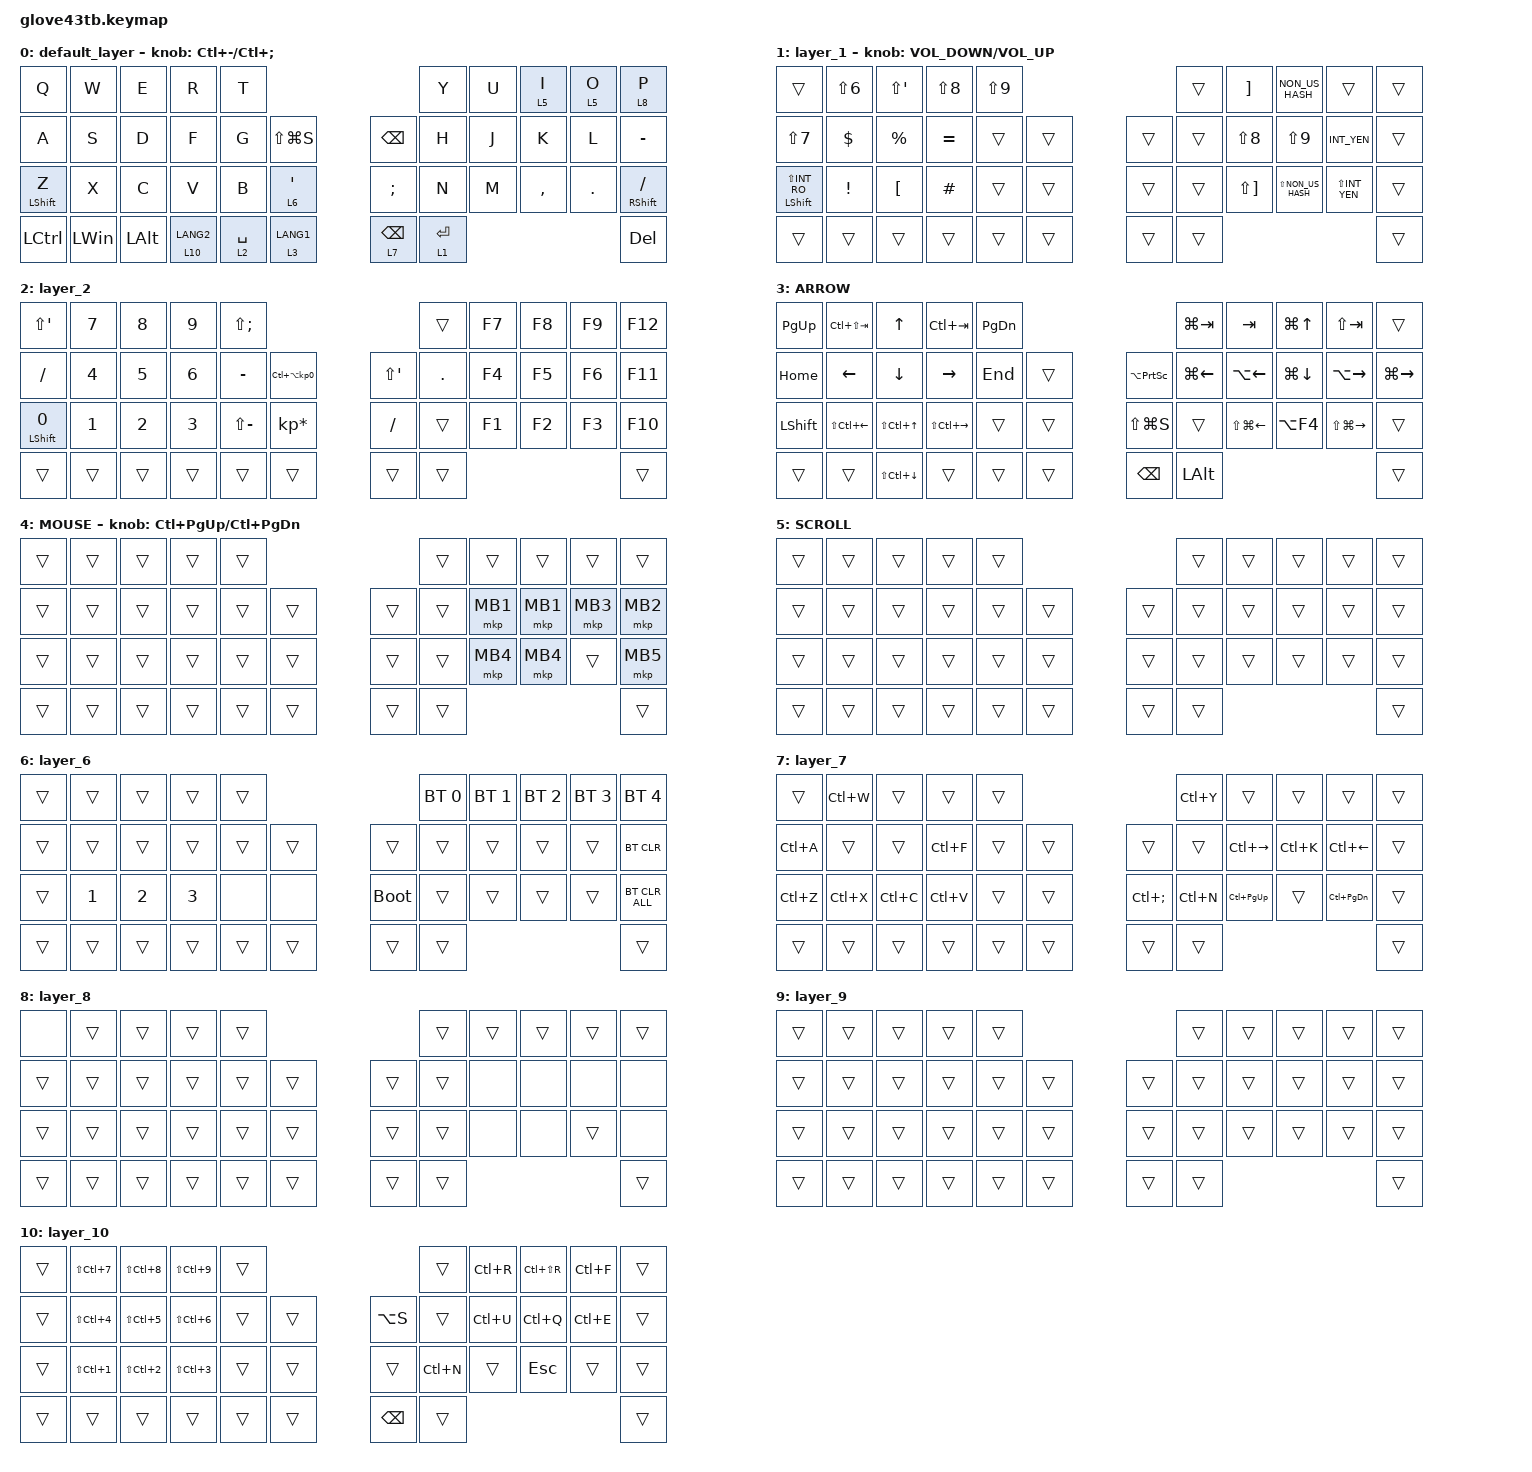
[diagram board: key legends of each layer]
#define ZMK_POINTING_DEFAULT_SCRL_VAL 150

#include <dt-bindings/zmk/input_transform.h>
#include <input/processors.dtsi>
#include <zephyr/dt-bindings/input/input-event-codes.h>
#include <behaviors.dtsi>
#include <dt-bindings/zmk/bt.h>
#include <dt-bindings/zmk/keys.h>
#include <dt-bindings/zmk/pointing.h>

&mt {
    flavor = "balanced";
    quick-tap-ms = <0>;
};

&mmv {
    delay-ms = <20>;
    trigger-period-ms = <5>;
    time-to-max-speed-ms = <100>;
    acceleration-exponent = <2>;
};

&msc {
    delay-ms = <3>;
    trigger-period-ms = <3>;
    time-to-max-speed-ms = <100>;
    acceleration-exponent = <0>;
};

/ {
    input_processors {
        zip_wheel_scaler: zip_wheel_scaler {
            compatible = "zmk,input-processor-scaler";
            #input-processor-cells = <2>;
            type = <INPUT_EV_REL>;
            codes = <INPUT_REL_WHEEL>;
            track-remainders;
        };

        // --- 最終修正：Scalerではなく専用プロセッサを使用 ---

        zip_no_mouse: zip_no_mouse {
            compatible = "zmk,input-processor-scaler"; // ★ココを変更！
            #input-processor-cells = <2>;
            type = <INPUT_EV_REL>;
            codes = <INPUT_REL_X>, <INPUT_REL_Y>;

            // 移動量を0にする役割に徹する
        };
    };
};

/ {
    combos {
        compatible = "zmk,combos";

        tab {
            bindings = <&kp TAB>;
            key-positions = <11 12>;
        };

        shift_tab {
            bindings = <&kp LS(TAB)>;
            key-positions = <12 13>;
        };

        muhennkann {
            bindings = <&to_layer_0 INT_MUHENKAN>;
            key-positions = <22 23>;
        };

        double_quotation {
            bindings = <&kp DOUBLE_QUOTES>;
            key-positions = <20 21>;
        };

        eq {
            bindings = <&kp EQUAL>;
            key-positions = <24 25>;
        };

        COMBO_ESC {
            bindings = <&kp ESC>;
            key-positions = <0 1>;
            timeout-ms = <50>;
            layers = <0>;
        };
    };

    macros {
        to_layer_0: to_layer_0 {
            compatible = "zmk,behavior-macro-one-param";
            #binding-cells = <1>;
            bindings = <&to 0 &macro_param_1to1 &kp MACRO_PLACEHOLDER>;
            label = "TO_LAYER_0";
        };
    };

    behaviors {
        lt_to_layer_0: lt_to_layer_0 {
            compatible = "zmk,behavior-hold-tap";
            label = "LAYER_TAP_TO_0";
            bindings = <&mo>, <&to_layer_0>;

            #binding-cells = <2>;
            tapping-term-ms = <200>;
        };

        sensor_rotate_kp: sensor_rotate_kp {
            compatible = "zmk,behavior-sensor-rotate-var";
            #sensor-binding-cells = <2>;
            bindings = <&kp>, <&kp>;
        };

        mouse_wheel_scroll: mouse_wheel_scroll {
            compatible = "zmk,behavior-sensor-rotate-var";
            #sensor-binding-cells = <2>;
            bindings = <&msc>, <&msc>;

            tap-ms = <20>;
        };

        // --- 追加：トラックボール・ジェスチャーの定義 ---
        // --- ① behaviorsセクション：感度を爆上げ ---
        // ... (lt_to_layer_0, sensor_rotate_kp, mouse_wheel_scroll は変更なし) ...
        // --- 修正：トラックボール・ジェスチャーの定義 ---

        tb_web: tb_web {
            compatible = "zmk,behavior-input-two-axis-as-key";
            #binding-cells = <0>;
            threshold = <500>; // ★500に戻して誤爆を防止！
            bindings =
                <&kp LC(LS(TAB))>,
                // 左: 前タブ,,,,,,,,,,,,,,,,
                <&kp LC(TAB)>,
                // 右: 次タブ,,,,,,,,,,,,,,,,
                <&kp LC(W)>,
                // 下: 閉じる,,,,,,,,,,,,,,,,
                <&kp LC(T)>;

            // 上: 新規タブ
            // 修正案：直感に合わせて順序を入れ替えました
            // 左(前), 右(次), 下(閉), 上(新)
        };

        tb_undo: tb_undo {
            compatible = "zmk,behavior-input-two-axis-as-key";
            #binding-cells = <0>;
            threshold = <500>; // ★ここも500へ
            // 右上に弾いた時だけ「閉じたタブを戻す」
            // 順序：上, 下, 左, 右

            bindings = <&kp LC(LS(T))>, <&none>, <&none>, <&none>;
        };
    };

    keymap {
        compatible = "zmk,keymap";

        default_layer {
            bindings = <
&kp Q             &kp W         &kp E         &kp R         &kp T                                                     &kp Y        &kp U  &lt 5 I    &lt 5 O  &lt 8 P
&kp A             &kp S         &kp D         &kp F         &kp G        &kp LS(LG(S))               &kp BACKSPACE    &kp H        &kp J  &kp K      &kp L    &kp MINUS
&mt LEFT_SHIFT Z  &kp X         &kp C         &kp V         &kp B        &lt 6 SINGLE_QUOTE          &kp SEMICOLON    &kp N        &kp M  &kp COMMA  &kp DOT  &mt RIGHT_SHIFT SLASH
&kp LCTRL         &kp LEFT_WIN  &kp LEFT_ALT  &lt 10 LANG2  &lt 2 SPACE  &lt_to_layer_0 3 LANG1      &lt 7 BACKSPACE  &lt 1 ENTER                             &kp DELETE
            >;

            sensor-bindings = <&inc_dec_kp LC(MINUS) LC(SEMICOLON)>;
        };

        layer_1 {
            bindings = <
&trans                     &kp LS(NUMBER_6)  &kp LS(SINGLE_QUOTE)  &kp LS(NUMBER_8)  &kp LS(NUMBER_9)                      &trans  &kp RIGHT_BRACKET      &kp NON_US_HASH      &trans           &trans
&kp LS(NUMBER_7)           &kp DOLLAR        &kp PERCENT           &kp EQUAL         &trans            &trans      &trans  &trans  &kp LS(NUMBER_8)       &kp LS(NUMBER_9)     &kp INT_YEN      &trans
&mt LEFT_SHIFT LS(INT_RO)  &kp EXCLAMATION   &kp LEFT_BRACKET      &kp HASH          &trans            &trans      &trans  &trans  &kp LS(RIGHT_BRACKET)  &kp LS(NON_US_HASH)  &kp LS(INT_YEN)  &trans
&trans                     &trans            &trans                &trans            &trans            &trans      &trans  &trans                                                               &trans
            >;

            sensor-bindings = <&sensor_rotate_kp C_VOLUME_DOWN C_VOLUME_UP>;
        };

        layer_2 {
            bindings = <
&kp LS(SINGLE_QUOTE)  &kp N7  &kp N8  &kp N9  &kp LS(SEMICOLON)                                                     &trans      &kp F7  &kp F8  &kp F9  &kp F12
&kp SLASH             &kp N4  &kp N5  &kp N6  &kp MINUS          &kp LC(LA(KP_NUMBER_0))      &kp LS(SINGLE_QUOTE)  &kp PERIOD  &kp F4  &kp F5  &kp F6  &kp F11
&mt LEFT_SHIFT N0     &kp N1  &kp N2  &kp N3  &kp LS(MINUS)      &kp KP_MULTIPLY              &kp SLASH             &trans      &kp F1  &kp F2  &kp F3  &kp F10
&trans                &trans  &trans  &trans  &trans             &trans                       &trans                &trans                              &trans
            >;
        };

        ARROW {
            bindings = <
&kp PAGE_UP     &kp LC(LS(TAB))   &kp UP_ARROW          &kp LC(TAB)        &kp PAGE_DOWN                                   &kp LG(TAB)         &kp TAB           &kp LG(UP_ARROW)  &kp LS(TAB)        &trans
&kp HOME        &kp LEFT_ARROW    &kp DOWN_ARROW        &kp RIGHT_ARROW    &kp END        &trans      &kp LA(PRINTSCREEN)  &kp LG(LEFT_ARROW)  &kp LA(LEFT)      &kp LG(DOWN)      &kp LA(RIGHT)      &kp LG(RIGHT_ARROW)
&kp LEFT_SHIFT  &kp LS(LC(LEFT))  &kp LS(LC(UP_ARROW))  &kp LS(LC(RIGHT))  &trans         &trans      &kp LS(LG(S))        &trans              &kp LS(LG(LEFT))  &kp LA(F4)        &kp LS(LG(RIGHT))  &trans
&trans          &trans            &kp LS(LC(DOWN))      &trans             &trans         &trans      &kp BACKSPACE        &kp LEFT_ALT                                                               &trans
            >;
        };

        MOUSE {
            bindings = <
&trans  &trans  &trans  &trans  &trans                      &trans  &trans    &trans    &trans    &trans
&trans  &trans  &trans  &trans  &trans  &trans      &trans  &trans  &mkp MB1  &mkp MB1  &mkp MB3  &mkp MB2
&trans  &trans  &trans  &trans  &trans  &trans      &trans  &trans  &mkp MB4  &mkp MB4  &trans    &mkp MB5
&trans  &trans  &trans  &trans  &trans  &trans      &trans  &trans                                &trans
            >;

            sensor-bindings = <&inc_dec_kp LC(PAGE_UP) LC(PAGE_DOWN)>;
        };

        SCROLL {
            bindings = <
&trans  &trans  &trans  &trans  &trans                      &trans  &trans  &trans  &trans  &trans
&trans  &trans  &trans  &trans  &trans  &trans      &trans  &trans  &trans  &trans  &trans  &trans
&trans  &trans  &trans  &trans  &trans  &trans      &trans  &trans  &trans  &trans  &trans  &trans
&trans  &trans  &trans  &trans  &trans  &trans      &trans  &trans                          &trans
            >;
        };

        layer_6 {
            bindings = <
&trans  &trans        &trans        &trans        &trans                           &bt BT_SEL 0  &bt BT_SEL 1  &bt BT_SEL 2  &bt BT_SEL 3  &bt BT_SEL 4
&trans  &trans        &trans        &trans        &trans  &trans      &trans       &trans        &trans        &trans        &trans        &bt BT_CLR
&trans  &kp NUMBER_1  &kp NUMBER_2  &kp NUMBER_3  &none   &none       &bootloader  &trans        &trans        &trans        &trans        &bt BT_CLR_ALL
&trans  &trans        &trans        &trans        &trans  &trans      &trans       &trans                                                  &trans
            >;
        };

        layer_7 {
            bindings = <
&trans     &kp LC(W)  &trans     &trans     &trans                                 &kp LC(Y)  &trans           &trans     &trans             &trans
&kp LC(A)  &trans     &trans     &kp LC(F)  &trans  &trans      &trans             &trans     &kp LC(RIGHT)    &kp LC(K)  &kp LC(LEFT)       &trans
&kp LC(Z)  &kp LC(X)  &kp LC(C)  &kp LC(V)  &trans  &trans      &kp LC(SEMICOLON)  &kp LC(N)  &kp LC(PAGE_UP)  &trans     &kp LC(PAGE_DOWN)  &trans
&trans     &trans     &trans     &trans     &trans  &trans      &trans             &trans                                                    &trans
            >;
        };

        // --- 検証用：zip_no_mouseを外し、tb_webのみにする ---

        layer_8 {
            bindings = <
&none   &trans  &trans  &trans  &trans                      &trans  &trans  &trans  &trans  &trans
&trans  &trans  &trans  &trans  &trans  &trans      &trans  &trans  &none   &none   &none   &none
&trans  &trans  &trans  &trans  &trans  &trans      &trans  &trans  &none   &none   &trans  &none
&trans  &trans  &trans  &trans  &trans  &trans      &trans  &trans                          &trans
            >;

            trackball_listener {
                device = <&trackball>;
                input-processors = <&tb_web>; // シンプルにジェスチャーのみ
            };
        };

        layer_9 {
            bindings = <
&trans  &trans  &trans  &trans  &trans                      &trans  &trans  &trans  &trans  &trans
&trans  &trans  &trans  &trans  &trans  &trans      &trans  &trans  &trans  &trans  &trans  &trans
&trans  &trans  &trans  &trans  &trans  &trans      &trans  &trans  &trans  &trans  &trans  &trans
&trans  &trans  &trans  &trans  &trans  &trans      &trans  &trans                          &trans
            >;
        };

        layer_10 {
            bindings = <
&trans  &kp LS(LC(NUMBER_7))  &kp LS(LC(NUMBER_8))  &kp LS(LC(NUMBER_9))  &trans                             &trans     &kp LC(R)  &kp LC(LS(R))  &kp LC(F)  &trans
&trans  &kp LS(LC(NUMBER_4))  &kp LS(LC(NUMBER_5))  &kp LS(LC(NUMBER_6))  &trans  &trans      &kp LA(S)      &trans     &kp LC(U)  &kp LC(Q)      &kp LC(E)  &trans
&trans  &kp LS(LC(NUMBER_1))  &kp LS(LC(NUMBER_2))  &kp LS(LC(NUMBER_3))  &trans  &trans      &trans         &kp LC(N)  &trans     &kp ESCAPE     &trans     &trans
&trans  &trans                &trans                &trans                &trans  &trans      &kp BACKSPACE  &trans                                          &trans
            >;
        };
    };
};
